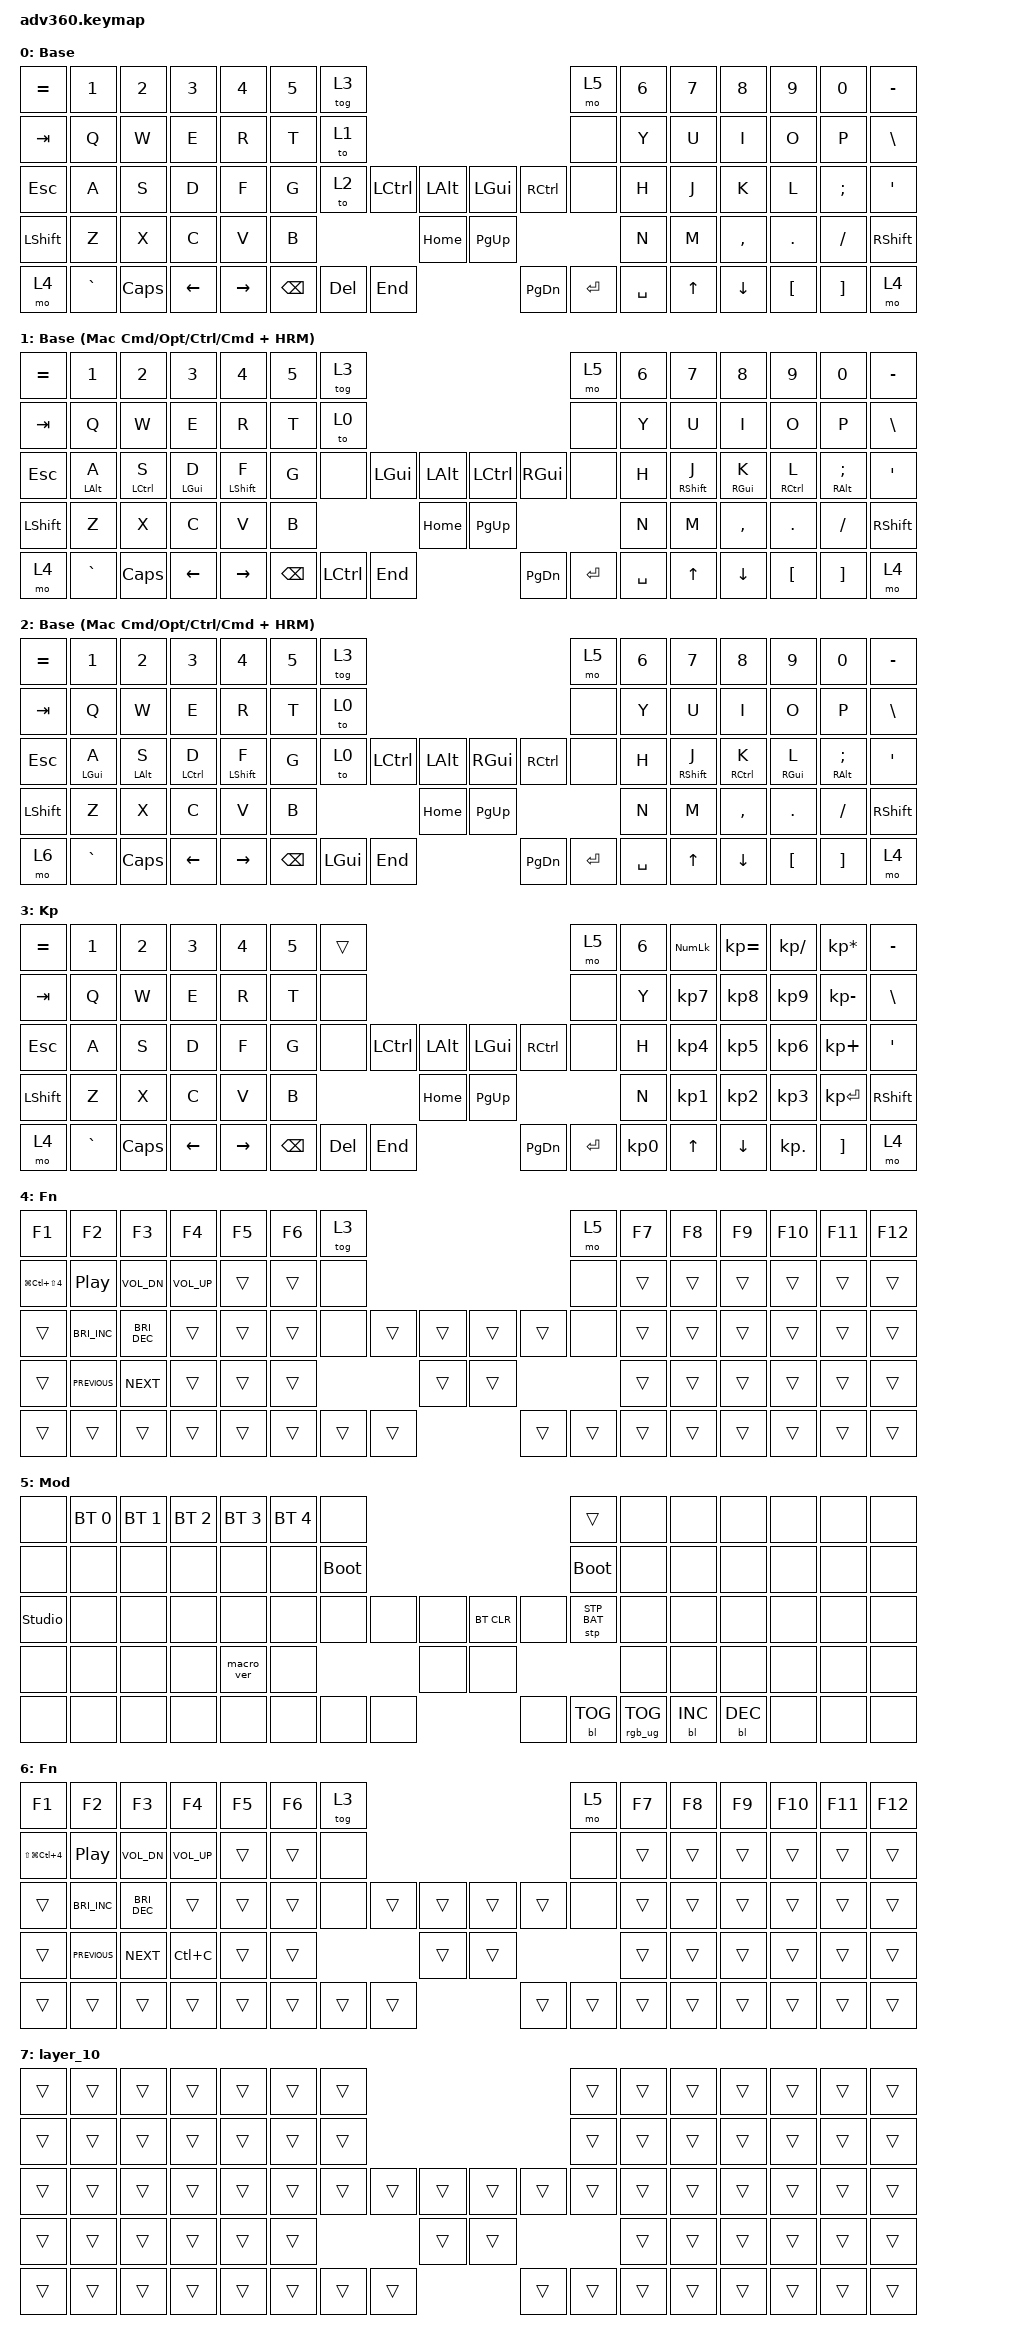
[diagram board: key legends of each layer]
#include <dt-bindings/zmk/stp.h>
#include <behaviors.dtsi>
#include <dt-bindings/zmk/backlight.h>
#include <dt-bindings/zmk/bt.h>
#include <dt-bindings/zmk/keys.h>
#include <dt-bindings/zmk/rgb.h>

/ {
    behaviors {
        #include "macros.dtsi"
      #include "version.dtsi"

        hm: homerow_mods {
            compatible = "zmk,behavior-hold-tap";
            label = "HOMEROW_MODS";
            #binding-cells = <2>;
            tapping-term-ms = <200>;
            quick_tap_ms = <175>;
            flavor = "tap-preferred";
            bindings = <&kp>, <&kp>;
        };
    };

    keymap {
        compatible = "zmk,keymap";

        default_layer {
            display-name = "Base";
            bindings = <
&kp EQUAL  &kp N1     &kp N2    &kp N3    &kp N4     &kp N5  &tog 3                                                                    &mo 5  &kp N6  &kp N7  &kp N8     &kp N9    &kp N0    &kp MINUS
&kp TAB    &kp Q      &kp W     &kp E     &kp R      &kp T   &to 1                                                                     &none  &kp Y   &kp U   &kp I      &kp O     &kp P     &kp BSLH
&kp ESC    &kp A      &kp S     &kp D     &kp F      &kp G   &to 2             &kp LCTRL  &kp LALT    &kp LGUI   &kp RCTRL             &none  &kp H   &kp J   &kp K      &kp L     &kp SEMI  &kp SQT
&kp LSHFT  &kp Z      &kp X     &kp C     &kp V      &kp B                                &kp HOME    &kp PG_UP                               &kp N   &kp M   &kp COMMA  &kp DOT   &kp FSLH  &kp RSHFT
&mo 4      &kp GRAVE  &kp CAPS  &kp LEFT  &kp RIGHT                  &kp BSPC  &kp DEL    &kp END     &kp PG_DN  &kp ENTER  &kp SPACE                 &kp UP  &kp DOWN   &kp LBKT  &kp RBKT  &mo 4
            >;
        };

        mac_layer {
            display-name = "Base (Mac Cmd/Opt/Ctrl/Cmd + HRM)";
            bindings = <
&kp EQUAL  &kp N1      &kp N2       &kp N3      &kp N4       &kp N5  &tog 3                                                                           &mo 5  &kp N6  &kp N7       &kp N8      &kp N9       &kp N0         &kp MINUS
&kp TAB    &kp Q       &kp W        &kp E       &kp R        &kp T   &to 0                                                                            &none  &kp Y   &kp U        &kp I       &kp O        &kp P          &kp BSLH
&kp ESC    &hm LALT A  &hm LCTRL S  &hm LGUI D  &hm LSHFT F  &kp G   &none             &kp LGUI          &kp LALT    &kp LCTRL  &kp RGUI              &none  &kp H   &hm RSHFT J  &hm RGUI K  &hm RCTRL L  &hm RALT SEMI  &kp SQT
&kp LSHFT  &kp Z       &kp X        &kp C       &kp V        &kp B                                       &kp HOME    &kp PG_UP                               &kp N   &kp M        &kp COMMA   &kp DOT      &kp FSLH       &kp RSHFT
&mo 4      &kp GRAVE   &kp CAPS     &kp LEFT    &kp RIGHT                    &kp BSPC  &kp LEFT_CONTROL  &kp END     &kp PG_DN  &kp ENTER  &kp SPACE                 &kp UP       &kp DOWN    &kp LBKT     &kp RBKT       &mo 4
            >;
        };

        linux_layer {
            display-name = "Base (Mac Cmd/Opt/Ctrl/Cmd + HRM)";
            bindings = <
&kp EQUAL  &kp N1          &kp N2          &kp N3              &kp N4       &kp N5  &tog 3                                                                                       &mo 5  &kp N6  &kp N7       &kp N8               &kp N9           &kp N0         &kp MINUS
&kp TAB    &kp Q           &kp W           &kp E               &kp R        &kp T   &to 0                                                                                        &none  &kp Y   &kp U        &kp I                &kp O            &kp P          &kp BSLH
&kp ESC    &hm LEFT_GUI A  &hm LEFT_ALT S  &hm LEFT_CONTROL D  &hm LSHFT F  &kp G   &to 0             &kp LEFT_CONTROL  &kp LALT    &kp RIGHT_GUI  &kp RIGHT_CONTROL             &none  &kp H   &hm RSHFT J  &hm RIGHT_CONTROL K  &hm RIGHT_GUI L  &hm RALT SEMI  &kp SQT
&kp LSHFT  &kp Z           &kp X           &kp C               &kp V        &kp B                                       &kp HOME    &kp PG_UP                                           &kp N   &kp M        &kp COMMA            &kp DOT          &kp FSLH       &kp RSHFT
&mo 6      &kp GRAVE       &kp CAPS        &kp LEFT            &kp RIGHT                    &kp BSPC  &kp LEFT_GUI      &kp END     &kp PG_DN      &kp ENTER          &kp SPACE                 &kp UP       &kp DOWN             &kp LBKT         &kp RBKT       &mo 4
            >;

            label = "linux with hrm gui/alt/control/shift";
        };

        keypad {
            display-name = "Kp";
            bindings = <
&kp EQUAL  &kp N1     &kp N2    &kp N3    &kp N4     &kp N5  &trans                                                                    &mo 5  &kp N6  &kp KP_NUM  &kp KP_EQUAL  &kp KP_DIVIDE  &kp KP_MULTIPLY  &kp MINUS
&kp TAB    &kp Q      &kp W     &kp E     &kp R      &kp T   &none                                                                     &none  &kp Y   &kp KP_N7   &kp KP_N8     &kp KP_N9      &kp KP_MINUS     &kp BSLH
&kp ESC    &kp A      &kp S     &kp D     &kp F      &kp G   &none             &kp LCTRL  &kp LALT    &kp LGUI   &kp RCTRL             &none  &kp H   &kp KP_N4   &kp KP_N5     &kp KP_N6      &kp KP_PLUS      &kp SQT
&kp LSHFT  &kp Z      &kp X     &kp C     &kp V      &kp B                                &kp HOME    &kp PG_UP                               &kp N   &kp KP_N1   &kp KP_N2     &kp KP_N3      &kp KP_ENTER     &kp RSHFT
&mo 4      &kp GRAVE  &kp CAPS  &kp LEFT  &kp RIGHT                  &kp BSPC  &kp DEL    &kp END     &kp PG_DN  &kp ENTER  &kp KP_N0                 &kp UP      &kp DOWN      &kp KP_DOT     &kp RBKT         &mo 4
            >;
        };

        fn {
            display-name = "Fn";
            bindings = <
&kp F1              &kp F2                &kp F3         &kp F4           &kp F5  &kp F6  &tog 3                                                    &mo 5  &kp F7  &kp F8  &kp F9  &kp F10  &kp F11  &kp F12
&kp LG(LC(LS(N4)))  &kp C_PLAY_PAUSE      &kp C_VOL_DN   &kp C_VOLUME_UP  &trans  &trans  &none                                                     &none  &trans  &trans  &trans  &trans   &trans   &trans
&trans              &kp C_BRIGHTNESS_INC  &kp C_BRI_DEC  &trans           &trans  &trans  &none           &trans  &trans    &trans  &trans          &none  &trans  &trans  &trans  &trans   &trans   &trans
&trans              &kp C_PREVIOUS        &kp C_NEXT     &trans           &trans  &trans                          &trans    &trans                         &trans  &trans  &trans  &trans   &trans   &trans
&trans              &trans                &trans         &trans           &trans                  &trans  &trans  &trans    &trans  &trans  &trans                 &trans  &trans  &trans   &trans   &trans
            >;
        };

        mod {
            display-name = "Mod";
            bindings = <
&none           &bt BT_SEL 0  &bt BT_SEL 1  &bt BT_SEL 2  &bt BT_SEL 3  &bt BT_SEL 4  &none                                                                        &trans        &none  &none       &none       &none  &none  &none
&none           &none         &none         &none         &none         &none         &bootloader                                                                  &bootloader   &none  &none       &none       &none  &none  &none
&studio_unlock  &none         &none         &none         &none         &none         &none               &none  &none    &bt BT_CLR  &none                        &stp STP_BAT  &none  &none       &none       &none  &none  &none
&none           &none         &none         &none         &macro_ver    &none                                    &none    &none                                                  &none  &none       &none       &none  &none  &none
&none           &none         &none         &none         &none                                    &none  &none  &none    &none       &bl BL_TOG  &rgb_ug RGB_TOG                       &bl BL_INC  &bl BL_DEC  &none  &none  &none
            >;
        };

        linux_fn {
            display-name = "Fn";
            bindings = <
&kp F1                    &kp F2                &kp F3         &kp F4           &kp F5  &kp F6  &tog 3                                                    &mo 5  &kp F7  &kp F8  &kp F9  &kp F10  &kp F11  &kp F12
&kp LS(LG(LC(NUMBER_4)))  &kp C_PLAY_PAUSE      &kp C_VOL_DN   &kp C_VOLUME_UP  &trans  &trans  &none                                                     &none  &trans  &trans  &trans  &trans   &trans   &trans
&trans                    &kp C_BRIGHTNESS_INC  &kp C_BRI_DEC  &trans           &trans  &trans  &none           &trans  &trans    &trans  &trans          &none  &trans  &trans  &trans  &trans   &trans   &trans
&trans                    &kp C_PREVIOUS        &kp C_NEXT     &kp LC(C)        &trans  &trans                          &trans    &trans                         &trans  &trans  &trans  &trans   &trans   &trans
&trans                    &trans                &trans         &trans           &trans                  &trans  &trans  &trans    &trans  &trans  &trans                 &trans  &trans  &trans   &trans   &trans
            >;

            label = "seperate_function_layer for linux";
        };

        extra1 {
            display-name = "Red";
            status = "reserved";
        };

        extra2 {
            display-name = "Purple";
            status = "reserved";
        };

        extra3 {
            display-name = "Cyan";
            status = "reserved";
        };

        layer_10 {
            bindings = <
&trans  &trans  &trans  &trans  &trans  &trans  &trans                                                    &trans  &trans  &trans  &trans  &trans  &trans  &trans
&trans  &trans  &trans  &trans  &trans  &trans  &trans                                                    &trans  &trans  &trans  &trans  &trans  &trans  &trans
&trans  &trans  &trans  &trans  &trans  &trans  &trans          &trans  &trans    &trans  &trans          &trans  &trans  &trans  &trans  &trans  &trans  &trans
&trans  &trans  &trans  &trans  &trans  &trans                          &trans    &trans                          &trans  &trans  &trans  &trans  &trans  &trans
&trans  &trans  &trans  &trans  &trans                  &trans  &trans  &trans    &trans  &trans  &trans                  &trans  &trans  &trans  &trans  &trans
            >;
        };
    };
};
